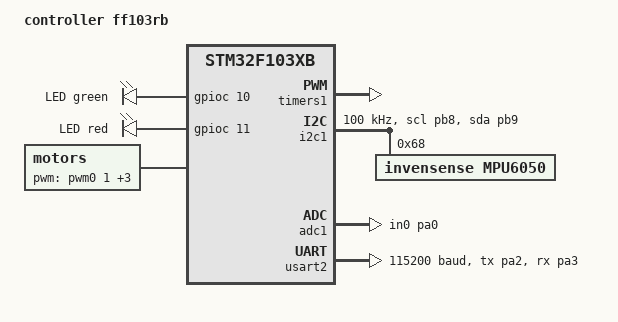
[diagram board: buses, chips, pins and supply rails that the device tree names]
/dts-v1/;
#include <st/f1/stm32f103Xb.dtsi>
#include <st/f1/stm32f103r(8-b)tx-pinctrl.dtsi>

/ {
  model = "controller ff103rb";
  compatible = "metelski,controller-f103rb";

  chosen {
    zephyr,sram = &sram0;
    zephyr,flash = &flash0;
    zephyr,console = &usart2;
    zephyr,shell-uart = &usart2;
  };

  aliases {
    led0 = &green_led;
    led1 = &red_led;
  };

  leds {
    compatible = "gpio-leds";
    green_led: led_0 {
      gpios = <&gpioc 10 GPIO_ACTIVE_HIGH>;
      label = "LED green";
    };
    red_led: led_1 {
      gpios = <&gpioc 11 GPIO_ACTIVE_HIGH>;
      label = "LED red";
    };
  };

  motors {
    compatible = "motors";
    status = "okay";
    pwms = <&pwm0 1 100000 PWM_POLARITY_NORMAL>,
           <&pwm0 2 100000 PWM_POLARITY_NORMAL>,
           <&pwm0 3 100000 PWM_POLARITY_NORMAL>,
           <&pwm0 4 100000 PWM_POLARITY_NORMAL>;
  };
};

&timers1 {
  status = "okay";
  pwm0: pwm {
    pinctrl-0 = <&tim1_ch1_pwm_pa8 &tim1_ch2_pwm_pa9
                 &tim1_ch3_pwm_pa10 &tim1_ch4_pwm_pa11>;
    status = "okay";
  };
};

&i2c1 {
  status = "okay";
  pinctrl-0 = <&i2c1_scl_pb8 &i2c1_sda_pb9>;
  clock-frequency = <I2C_BITRATE_STANDARD>;

  mpu6050@68 {
    compatible = "invensense,mpu6050";
    reg = <0x68>;
    status = "okay";
    label = "MPU6050";
  };
};

&adc1 {
  pinctrl-0 = <&adc1_in0_pa0>;
  status = "okay";
};

&usart2 {
  pinctrl-0 = <&usart2_tx_pa2 &usart2_rx_pa3>;
  current-speed = <115200>;
  status = "okay";
};

&clk_hsi {
  status = "okay";
};

&pll {
  mul = <8>;
  clocks = <&clk_hsi>;
  status = "okay";
};

&rcc {
  clocks = <&pll>;
  clock-frequency = <DT_FREQ_M(32)>;
  ahb-prescaler = <1>;
  apb1-prescaler = <1>;
  apb2-prescaler = <1>;
  status = "okay";
};
